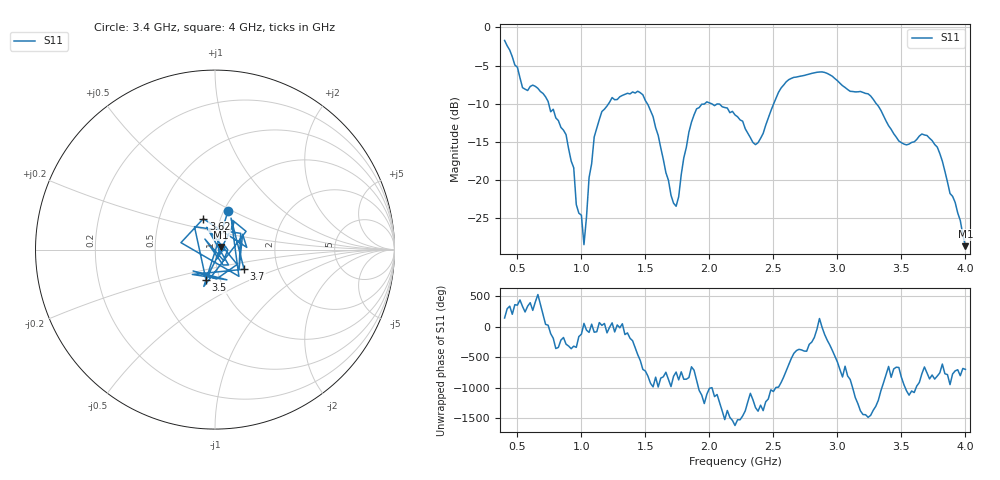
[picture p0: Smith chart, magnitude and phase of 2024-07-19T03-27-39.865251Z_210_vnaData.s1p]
!Created with skrf (http://scikit-rf.org).
# Hz S RI R 50.0
!freq ReS11 ImS11
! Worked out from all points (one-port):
!   181 points, 400 MHz to 4 GHz, reference 50 ohm
!   lowest |S11| = -28.7 dB at 4 GHz (marker M1), VSWR 1.08, Z = 53.5 + j1.52 ohm
!   |S11| at or under -10 dB: 744.1 MHz to 1.213 GHz (468.6 MHz wide, 47.9 % of centre); 2.015 GHz to 2.503 GHz (488.2 MHz wide, 21.6 % of centre); 3.303 GHz to end of sweep (the widest 3 of 4)
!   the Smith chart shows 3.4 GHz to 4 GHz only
!   S11 on the Smith chart (normalised r, x): 3.4 GHz: 1.05, +0.47; 3.5 GHz: 0.86, -0.30; 3.62 GHz: 0.83, +0.30; 3.7 GHz: 1.35, -0.31; 4 GHz: 1.07, +0.03
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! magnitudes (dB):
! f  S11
! 400 MHz  -1.7
! 540 MHz  -7.9
! 700 MHz  -8.7
! 860 MHz  -13.5
! 940 MHz  -18.4
! 960 MHz  -23.3
! 1 GHz  -24.7
! 1.02 GHz  -28.5
! 1.1 GHz  -14.4
! 1.3 GHz  -9.1
! 1.48 GHz  -8.8
! 1.56 GHz  -11.7
! 1.72 GHz  -23.1
! 1.76 GHz  -22.2
! 1.84 GHz  -13.7
! 1.9 GHz  -10.7
! 2.2 GHz  -11.5
! 2.36 GHz  -15.4
! 2.66 GHz  -6.6
! 3.1 GHz  -8.4
! 3.26 GHz  -9.0
! 3.4 GHz  -12.9
! 3.5 GHz  -15.1
! 3.56 GHz  -15.3
! 3.62 GHz  -14.7
! 3.7 GHz  -14.2
! 3.8 GHz  -16.5
! 4 GHz  -28.7
